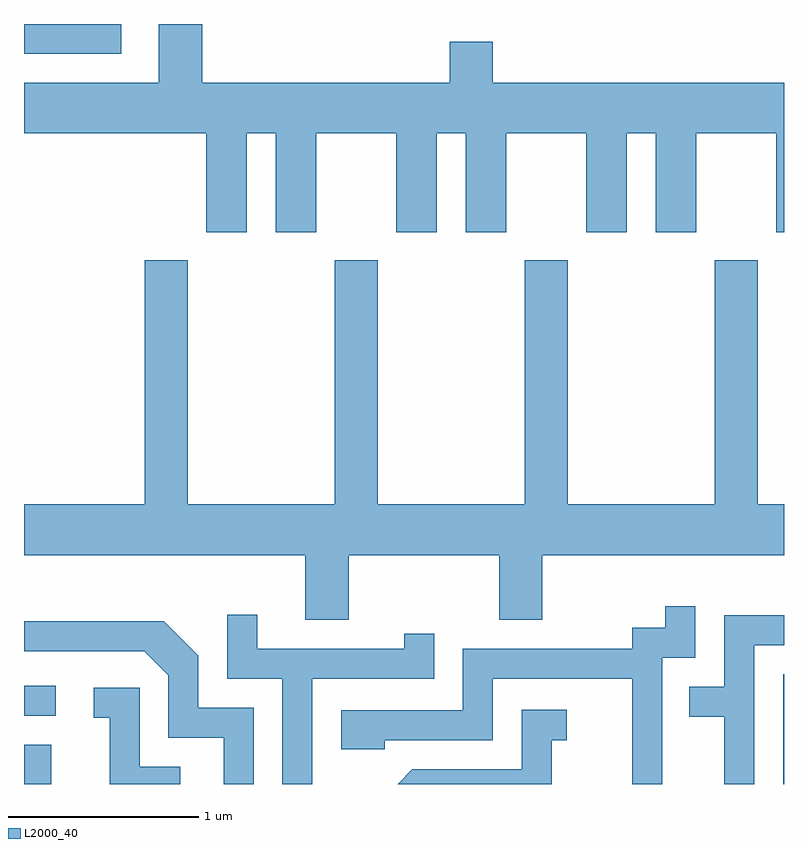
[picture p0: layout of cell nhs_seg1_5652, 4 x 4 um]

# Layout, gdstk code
import gdstk
lib = gdstk.Library(unit=1e-6, precision=1e-09)
def R(c, l, rs):  # rectangles x0, y0, x1, y1
    for r in rs: c.add(gdstk.rectangle(r[:2], r[2:], *l))
def P(c, l, *ps):  # polygons
    for p in ps: c.add(gdstk.Polygon(p, *l))
L2000_40 = (2000, 40)

nhs_seg1_5652 = lib.new_cell('nhs_seg1_5652')
R(nhs_seg1_5652, L2000_40, [(355.611,891.712,355.754,891.919), (359.606,891.712,359.611,892.289), (355.611,892.071,355.778,892.229), (355.611,895.556,356.124,895.712)])
P(nhs_seg1_5652, L2000_40, [(358.079,895.619),(357.851,895.619),(357.851,895.404),(356.549,895.404),(356.549,895.712),(356.321,895.712),(356.321,895.404),(355.611,895.404),(355.611,895.136),(356.571,895.136),(356.571,894.616),(356.784,894.616),(356.784,895.136),(356.936,895.136),(356.936,894.616),(357.149,894.616),(357.149,895.136),(357.571,895.136),(357.571,894.616),(357.784,894.616),(357.784,895.136),(357.936,895.136),(357.936,894.616),(358.149,894.616),(358.149,895.136),(358.571,895.136),(358.571,894.616),(358.784,894.616),(358.784,895.136),(358.936,895.136),(358.936,894.616),(359.149,894.616),(359.149,895.136),(359.571,895.136),(359.571,894.616),(359.611,894.616),(359.611,895.404),(358.079,895.404)],
  [(358.246,893.184),(357.474,893.184),(357.474,894.469),(357.246,894.469),(357.246,893.184),(356.474,893.184),(356.474,894.469),(356.246,894.469),(356.246,893.184),(355.611,893.184),(355.611,892.916),(357.091,892.916),(357.091,892.576),(357.319,892.576),(357.319,892.916),(358.111,892.916),(358.111,892.576),(358.339,892.576),(358.339,892.916),(359.611,892.916),(359.611,893.184),(359.474,893.184),(359.474,894.469),(359.246,894.469),(359.246,893.184),(358.474,893.184),(358.474,894.469),(358.246,894.469)],
  [(358.969,892.376),(359.144,892.376),(359.144,892.648),(358.986,892.648),(358.986,892.534),(358.811,892.534),(358.811,892.424),(357.921,892.424),(357.921,892.099),(357.281,892.099),(357.281,891.896),(357.509,891.896),(357.509,891.941),(358.079,891.941),(358.079,892.266),(358.811,892.266),(358.811,891.712),(358.969,891.712)],
  [(357.129,892.266),(357.769,892.266),(357.769,892.503),(357.611,892.503),(357.611,892.424),(356.839,892.424),(356.839,892.603),(356.681,892.603),(356.681,892.266),(356.971,892.266),(356.971,891.712),(357.129,891.712)],
  [(359.454,892.441),(359.611,892.441),(359.611,892.599),(359.296,892.599),(359.296,892.224),(359.113,892.224),(359.113,892.066),(359.296,892.066),(359.296,891.712),(359.454,891.712)],
  [(356.819,892.114),(356.529,892.114),(356.529,892.387),(356.347,892.569),(355.611,892.569),(355.611,892.411),(356.244,892.411),(356.371,892.284),(356.371,891.956),(356.661,891.956),(356.661,891.712),(356.819,891.712)],
  [(356.434,891.804),(356.219,891.804),(356.219,892.219),(355.978,892.219),(355.978,892.061),(356.061,892.061),(356.061,891.712),(356.434,891.712)],
  [(358.389,891.941),(358.468,891.941),(358.468,892.104),(358.231,892.104),(358.231,891.789),(357.654,891.789),(357.577,891.712),(358.389,891.712)])

lib.write_gds('nhs_seg1_5652.gds')
